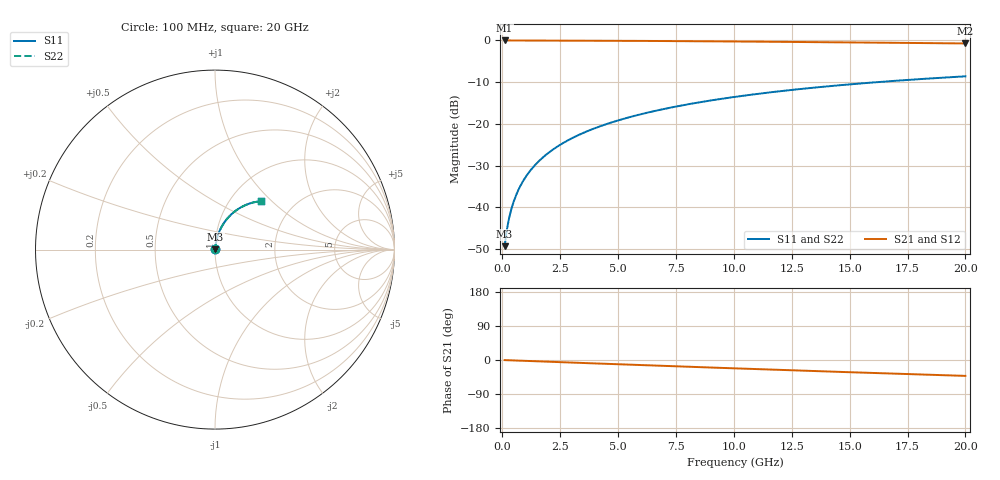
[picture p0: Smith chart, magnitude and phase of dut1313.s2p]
! Touchstone file exported from HFSS 2026.1.0
!  File:  C:/ffzhzh/LocalFiles/Ansys_Project_Files/temp_train_TMRDL_1313_1783164888_43440.aedt
!  Generated:  07:36:08 PM Jul  4, 2026
!  Design:  TMRDL
!  Project:  temp_train_TMRDL_1313_1783164888_43440
! Variables:
!  h_bsmrdl = 2um
!  h_ox = 20um
!  h_rdl = 5um
!  h_sub = 80um
!  h_tmrdl = 4.22um
!  h_tsv = 80um
!  h_via = 3um
!  l_bsmrdl = 300um
!  l_sub = 1017.2um
!  l_tmrdl = 617.2um
!  m_sub = 200um
!  pitch = 50.81um
!  r_tsv = 6um
!  s_tmrdl = 10um
!  w_bsmrdl = 18um
!  w_sub = 500um
!  w_tmrdl = 23.6um
!  x_tsv_center1 = 629um
!  x_tsv_center2 = 947um
!  x_tsv_center3 = 1587.8um
!  x_tsv_center4 = 1905.8um
!  x_tsv_center5 = 2546.6um
!  x_tsv_center6 = 2864.6um
# GHz S MA R 50.000000
! Terminal data exported
! Port[1] = TM_RDL1_1_T1
! Port[2] = TM_RDL1_1_T2
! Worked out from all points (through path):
!   200 points, 100 MHz to 20 GHz, reference 50 ohm
!   highest |S21| = -0.02 dB at 100 MHz (marker M1); lowest = -0.7 dB at 20 GHz (marker M2)
!   group delay of S21, straight-line fit = 5.82 ps
!   lowest |S11| = -49.3 dB at 100 MHz (marker M3), VSWR 1.01, Z = 50.2 + j0.247 ohm
!   |S11| at or under -10 dB: start of sweep to 16.19 GHz
!   |S22| runs from -49.3 to -8.6 dB; largest |S21 - S12| = 3e-15
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0.1  0.003438 45.7  0.9976 -0.2  0.9976 -0.2  0.003438 45.7
! Gamma 0 0 0 0
! Port Impedance 50 0 50 0
0.2  0.00546 61.8  0.9974 -0.5  0.9974 -0.5  0.00546 61.8
0.3  0.007592 68.7  0.9973 -0.7  0.9973 -0.7  0.007592 68.7
0.4  0.009746 72.5  0.9972 -0.9  0.9972 -0.9  0.009746 72.5
0.5  0.01192 75.0  0.9971 -1.2  0.9971 -1.2  0.01192 75.0
0.6  0.0141 76.8  0.997 -1.4  0.997 -1.4  0.0141 76.8
0.8  0.01851 78.9  0.9969 -1.8  0.9969 -1.8  0.01851 78.9
1.1  0.02517 80.4  0.9966 -2.5  0.9966 -2.5  0.02517 80.4
1.5  0.03408 81.1  0.9962 -3.4  0.9962 -3.4  0.03408 81.1
1.8  0.04075 81.1  0.9958 -4.1  0.9958 -4.1  0.04075 81.1
2.1  0.0474 81.0  0.9953 -4.8  0.9953 -4.8  0.0474 80.9
2.7  0.06063 80.2  0.9943 -6.1  0.9943 -6.1  0.06063 80.2
3.5  0.07807 78.9  0.9926 -7.9  0.9926 -7.9  0.07807 78.9
4.2  0.09312 77.6  0.9908 -9.5  0.9908 -9.5  0.09312 77.6
5  0.1101 76.0  0.9886 -11.2  0.9886 -11.2  0.1101 76.0
5.9  0.1288 74.2  0.9858 -13.2  0.9858 -13.2  0.1288 74.2
6.8  0.1472 72.4  0.9827 -15.1  0.9827 -15.1  0.1472 72.3
8.3  0.1771 69.3  0.977 -18.4  0.977 -18.4  0.1771 69.3
10.1  0.2116 65.7  0.9694 -22.2  0.9694 -22.2  0.2116 65.7
13.4  0.2707 59.1  0.9537 -29.0  0.9537 -29.0  0.2707 59.1
16.7  0.324 52.8  0.9364 -35.6  0.9364 -35.6  0.324 52.7
20  0.3711 46.6  0.9185 -41.9  0.9185 -41.9  0.3711 46.5
